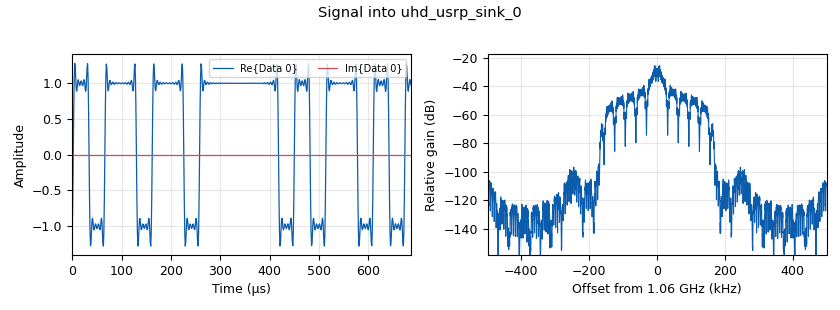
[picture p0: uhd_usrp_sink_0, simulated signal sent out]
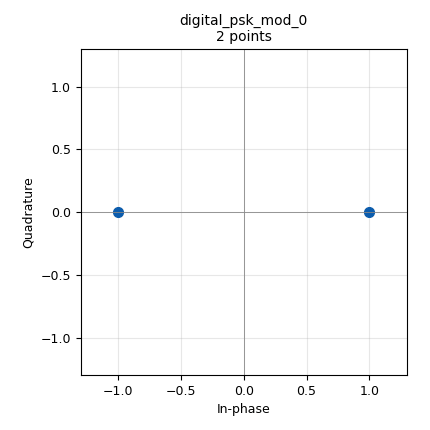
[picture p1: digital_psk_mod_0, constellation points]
<?xml version='1.0' encoding='utf-8'?>
<?grc format='1' created='3.7.10'?>
<flow_graph>
<block>
<key>options</key>
<param><key>id</key><value>Tx_PSKbitstream</value></param>
<param><key>generate_options</key><value>no_gui</value></param>
</block>
<block>
<key>variable</key>
<param><key>id</key><value>samp_rate</value></param>
<param><key>value</key><value>1e6</value></param>
</block>
<block>
<key>analog_random_source_x</key>
<param><key>id</key><value>analog_random_source_x_0</value></param>
<param><key>max</key><value>2</value></param>
<param><key>min</key><value>0</value></param>
<param><key>num_samps</key><value>1000</value></param>
<param><key>type</key><value>byte</value></param>
<param><key>repeat</key><value>True</value></param>
</block>
<block>
<key>digital_psk_mod</key>
<param><key>id</key><value>digital_psk_mod_0</value></param>
<param><key>differential</key><value>True</value></param>
<param><key>excess_bw</key><value>0.35</value></param>
<param><key>mod_code</key><value>"gray"</value></param>
<param><key>constellation_points</key><value>2</value></param>
<param><key>samples_per_symbol</key><value>4</value></param>
</block>
<block>
<key>uhd_usrp_sink</key>
<param><key>id</key><value>uhd_usrp_sink_0</value></param>
<param><key>ant0</key><value>TX0</value></param>
<param><key>center_freq0</key><value>1060e6</value></param>
<param><key>norm_gain0</key><value>False</value></param>
<param><key>gain0</key><value>30</value></param>
<param><key>clock_rate</key><value>0.0</value></param>
<param><key>dev_args</key><value>""</value></param>
<param><key>type</key><value>fc32</value></param>
<param><key>samp_rate</key><value>samp_rate</value></param>
<param><key>hide_cmd_port</key><value>False</value></param>
<param><key>hide_lo_controls</key><value>True</value></param>
<param><key>sync</key><value></value></param>
<param><key>len_tag_name</key><value></value></param>
</block>
<connection><source_block_id>analog_random_source_x_0</source_block_id><sink_block_id>digital_psk_mod_0</sink_block_id><source_key>0</source_key><sink_key>0</sink_key></connection>
<connection><source_block_id>digital_psk_mod_0</source_block_id><sink_block_id>uhd_usrp_sink_0</sink_block_id><source_key>0</source_key><sink_key>0</sink_key></connection>
</flow_graph>
